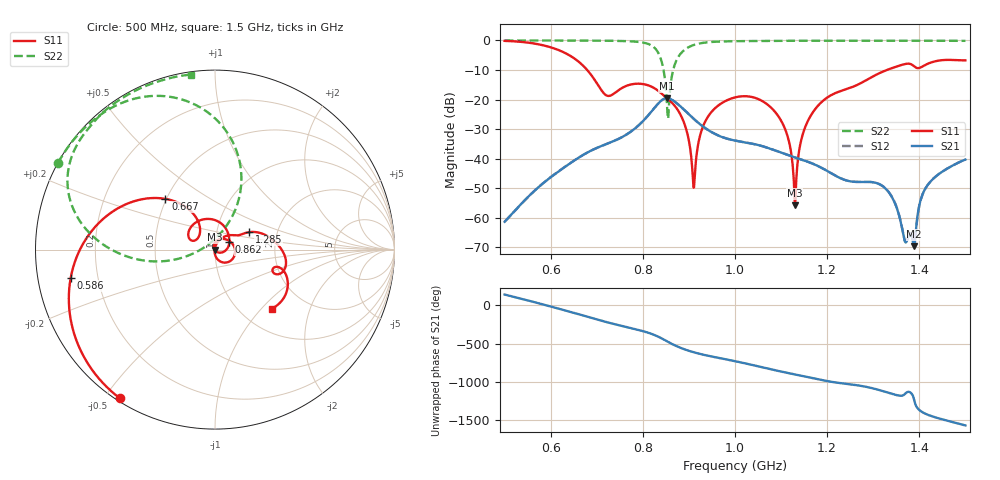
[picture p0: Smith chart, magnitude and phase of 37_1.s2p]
! TOUCHSTONE file generated by CST MICROWAVE STUDIO
! Date and time: Fri Oct  2 17:14:57 2020
! Project name: Scenario_1_Free_Space_out_of_line.cst
! Parameters = {Lambda=346.42; Step_1=17.321; dy1=-276.636; dx1=173; L_HA=400; MT=2.54; Rad_Dielectric=30; Rad_Lower=7.3; Rad_Upper=30; a_HA=580; a_WG=246; b_HA=500; b_WG=121; c_HA=0; c_WG=187; d_feed=85; h_feed=15; h_lower=18; h_upper=40}
! Header version: 2018
! Port assignment regex: !\s*Touchstone port\s*([0-9]+)\s*=\s*(CST MWS port|CST DS port)\s*([0-9]+|Zmin|Zmax)\s*\(\"(.*)\"\)(\s*mode\s*([0-9]+))?.*
! Touchstone port assignment:
! Touchstone port 1 = CST MWS port 1 ("")
! Touchstone port 2 = CST MWS port 2 ("")
# GHz S DB R 50
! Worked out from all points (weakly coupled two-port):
!   1003 points, 500 MHz to 1.5 GHz, reference 50 ohm
!   highest |S21| = -19.55 dB at 852 MHz (marker M1); lowest = -69.6 dB at 1.389 GHz (marker M2)
!   lowest |S11| = -55.9 dB at 1.13 GHz (marker M3), VSWR 1.00, Z = 49.8 - j0.0178 ohm
!   |S11| at or under -10 dB: 679.1 MHz to 1.33 GHz (650.6 MHz wide, 64.8 % of centre)
!   |S22| runs from -26.4 to 0.0 dB; largest |S21 - S12| = 0.00052
!   S11 on the Smith chart (normalised r, x): 500 MHz: 0.01, -0.55; 586 MHz: 0.10, -0.10; 667 MHz: 0.49, +0.33; 862 MHz: 1.17, +0.10; 1.285 GHz: 1.43, +0.29; 1.5 GHz: 1.37, -1.16
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0.5  -0.15 -122.7  -61.41 141.0  -61.40 140.7  -0.01 151.1
0.586  -1.73 -168.9  -48.04 7.8  -48.01 7.7  -0.01 145.2
0.667  -8.06 134.4  -39.08 -126.3  -39.07 -126.4  -0.05 138.3
0.722  -18.69 140.1  -35.01 140.7  -35.02 140.7  -0.10 131.9
0.834  -17.14 68.2  -21.26 -49.5  -21.25 -49.5  -4.36 80.5
0.852  -19.53 42.5  -19.55 -107.2  -19.56 -107.3  -20.61 71.9
0.862  -20.93 27.4  -20.00 -139.7  -20.00 -139.7  -12.99 -166.0
0.892  -29.04 -29.1  -23.84 143.7  -23.78 143.9  -3.01 172.3
0.911  -49.75 -164.9  -26.62 107.9  -26.63 108.1  -1.51 162.3
0.938  -26.68 83.6  -29.98 68.0  -29.93 68.3  -0.68 152.4
1  -19.29 7.4  -33.90 -7.3  -33.91 -7.4  -0.26 140.0
1.093  -25.42 -76.5  -37.59 -133.6  -37.58 -133.6  -0.13 130.4
1.116  -33.51 -93.2  -38.87 -162.9  -38.85 -162.8  -0.11 128.4
1.13  -55.88 -173.6  -39.61 179.7  -39.58 179.8  -0.10 127.2
1.145  -32.92 79.5  -40.38 161.0  -40.36 161.1  -0.10 125.9
1.167  -24.80 65.7  -41.62 133.1  -41.63 133.5  -0.09 124.2
1.285  -13.44 27.1  -47.87 18.0  -47.87 18.0  -0.08 115.2
1.334  -9.75 9.8  -51.48 -61.2  -51.38 -60.9  -0.09 111.4
1.369  -7.99 -8.2  -68.13 -73.5  -67.91 -73.2  -0.10 108.7
1.389  -8.78 -22.0  -69.64 -155.7  -69.66 -155.3  -0.10 107.2
1.416  -8.06 -16.7  -49.42 20.2  -49.43 20.2  -0.11 105.0
1.5  -6.74 -46.4  -40.34 -125.1  -40.34 -125.1  -0.14 97.8
